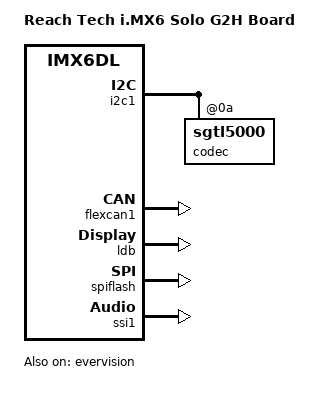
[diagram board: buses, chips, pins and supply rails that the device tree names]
/*
 * Copyright 2013 Freescale Semiconductor, Inc.
 *
 * Author: Fabio Estevam <fabio.estevam@freescale.com>
 *
 * This program is free software; you can redistribute it and/or modify
 * it under the terms of the GNU General Public License version 2 as
 * published by the Free Software Foundation.
 *
 */
/dts-v1/;

#include <dt-bindings/interrupt-controller/irq.h>
#include "imx6dl.dtsi"
#include "imx6qdl-g2h.dtsi"

/ {
	model = "Reach Tech i.MX6 Solo G2H Board";
	compatible = "reach,imx6dl-g2h", "fsl,imx6dl";

	/*
	 * Panel: 10.1" WXGA
	 * Touch: evervision
	 * Display Interface: LDB
	 * LDB Clock: PLL2
	 */

	mxcfb1: fb@0 {
		compatible = "fsl,mxc_sdc_fb";
		disp_dev = "ldb";
		interface_pix_fmt = "RGB24";
		default_bpp = <32>;
		int_clk = <0>;
		late_init = <0>;
		status = "okay";
	};

	sound {
		status = "okay";
	};
};

&clks {
	fsl,ldb-di0-parent = <&clks IMX6QDL_CLK_PLL2_PFD0_352M>;
	fsl,ldb-di1-parent = <&clks IMX6QDL_CLK_PLL2_PFD0_352M>;
};

&epdc {
	status = "disabled";
};

&evervision {
	status = "okay";
};

&i2c1 {
	codec: sgtl5000@0a {
		status = "okay";
	};
};

&flexcan1 {
	status = "okay";
};

&ldb {
	status = "okay";
	lvds_en_gpio = <&gpio2 8 1>;
	disp_en_gpio = <&gpio2 11 1>;

	lvds-channel@0 {
		fsl,data-mapping = "spwg";
		fsl,data-width = <24>;
		status = "okay";

		display-timings {
			native-mode = <&timing0>;
			timing0: wxga {
				clock-frequency = <65000000>;
				hactive = <1280>;
				vactive = <800>;
				hback-porch = <220>;
				hfront-porch = <40>;
				vback-porch = <21>;
				vfront-porch = <7>;
				hsync-len = <60>;
				vsync-len = <10>;
			};
		};
	};
};

&spiflash {
	status = "okay";
};

&ssi1 {
	status = "okay";
};
